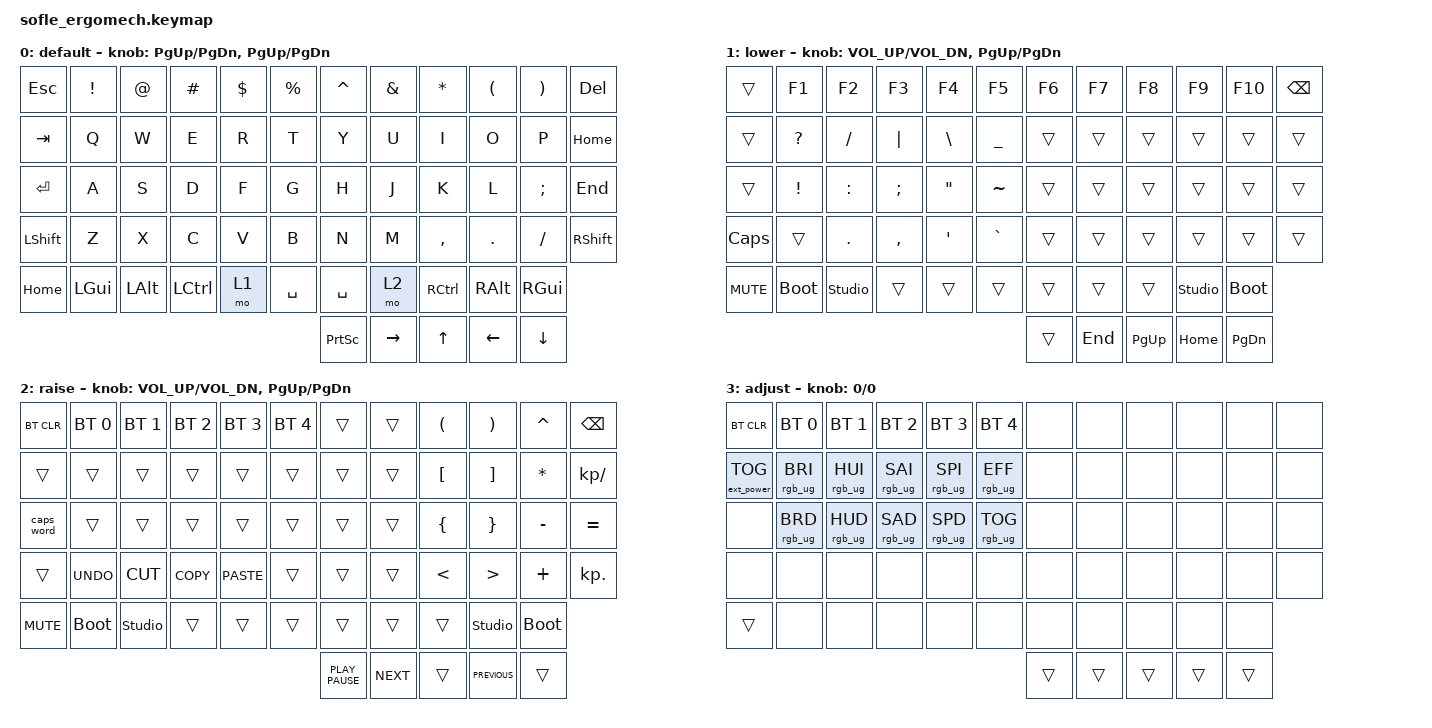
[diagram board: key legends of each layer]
/*
 * Copyright (c) 2020 The ZMK Contributors
 *
 * SPDX-License-Identifier: MIT
 */

#define ZMK_POINTING_DEFAULT_SCRL_VAL 300

#include <behaviors.dtsi>
#include <dt-bindings/zmk/bt.h>
#include <dt-bindings/zmk/ext_power.h>
#include <dt-bindings/zmk/keys.h>
#include <dt-bindings/zmk/pointing.h>
#include <dt-bindings/zmk/rgb.h>

#define BASE 0
#define LOWER 1
#define RAISE 2
#define ADJUST 3

/ {
    // Activate ADJUST layer by pressing raise and lower

    conditional_layers {
        compatible = "zmk,conditional-layers";

        adjust_layer {
            if-layers = <1 2>;
            then-layer = <3>;
        };
    };

    behaviors {
        mousescroll: mousescroll {
            compatible = "zmk,behavior-sensor-rotate";
            #sensor-binding-cells = <0>;
            bindings = <&msc SCRL_UP>, <&msc SCRL_DOWN>;

            tap-ms = <20>;
        };
    };

    keymap {
        compatible = "zmk,keymap";

        base {
            label = "default";

            // ------------------------------------------------------------------------------------------------------------
            // |   `   |  1  |  2  |  3   |  4   |  5   |                   |  6   |  7    |  8    |  9   |   0   |       |
            // |  ESC  |  Q  |  W  |  E   |  R   |  T   |                   |  Y   |  U    |  I    |  O   |   P   | BKSPC |
            // |  TAB  |  A  |  S  |  D   |  F   |  G   |                   |  H   |  J    |  K    |  L   |   ;   |   '   |
            // | SHIFT |  Z  |  X  |  C   |  V   |  B   |  MUTE  |  |       |  N   |  M    |  ,    |  .   |   /   | SHIFT |
            //               | GUI | ALT  | CTRL | LOWER|  ENTER |  | SPACE | RAISE| CTRL  | ALT   | GUI  |

            bindings = <
&kp ESC         &kp EXCL  &kp AT_SIGN  &kp HASH   &kp DOLLAR  &kp PERCENT  &kp CARET        &kp AMPERSAND  &kp ASTERISK  &kp LEFT_PARENTHESIS  &kp RIGHT_PARENTHESIS  &kp DEL
&kp TAB         &kp Q     &kp W        &kp E      &kp R       &kp T        &kp Y            &kp U          &kp I         &kp O                 &kp P                  &kp HOME
&kp ENTER       &kp A     &kp S        &kp D      &kp F       &kp G        &kp H            &kp J          &kp K         &kp L                 &kp SEMI               &kp END
&kp LEFT_SHIFT  &kp Z     &kp X        &kp C      &kp V       &kp B        &kp N            &kp M          &kp COMMA     &kp PERIOD            &kp SLASH              &kp RIGHT_SHIFT
&kp HOME        &kp LGUI  &kp LALT     &kp LCTRL  &mo 1       &kp SPACE    &kp SPACE        &mo 2          &kp RCTRL     &kp RALT              &kp RGUI
                                                                           &kp PRINTSCREEN  &kp RIGHT      &kp UP_ARROW  &kp LEFT_ARROW        &kp DOWN_ARROW
            >;

            sensor-bindings =
                <&inc_dec_kp PAGE_UP PAGE_DOWN>,
                <&inc_dec_kp PG_UP PG_DN>;
        };

        left {
            label = "lower";

            // TODO: Some binds are waiting for shifted keycode support.
            // ------------------------------------------------------------------------------------------------------------
            // |       |  F1 |  F2 |  F3  |  F4  |  F5  |                   |  F6  |  F7   |  F8   |  F9  |  F10  |  F11  |
            // |   `   |  1  |  2  |  3   |  4   |  5   |                   |  6   |  7    |  8    |  9   |   0   |  F12  |
            // |       |  !  |  @  |  #   |  $   |  %   |                   |  ^   |  &    |  *    |  (   |   )   |   |   |
            // |       |  =  |  -  |  +   |  {   |  }   |        |  |       |  [   |  ]    |  ;    |  :   |   \   |       |
            //               |     |      |      |      |        |  |       |      |       |       |      |

            bindings = <
&trans      &kp F1        &kp F2          &kp F3     &kp F4             &kp F5     &kp F6  &kp F7   &kp F8       &kp F9          &kp F10        &kp BACKSPACE
&trans      &kp QUESTION  &kp SLASH       &kp PIPE   &kp BACKSLASH      &kp UNDER  &trans  &trans   &trans       &trans          &trans         &trans
&trans      &kp EXCL      &kp COLON       &kp SEMI   &kp DOUBLE_QUOTES  &kp TILDE  &trans  &trans   &trans       &trans          &trans         &trans
&kp CAPS    &trans        &kp PERIOD      &kp COMMA  &kp APOS           &kp GRAVE  &trans  &trans   &trans       &trans          &trans         &trans
&kp K_MUTE  &bootloader   &studio_unlock  &trans     &trans             &trans     &trans  &trans   &trans       &studio_unlock  &bootloader
                                                                                   &trans  &kp END  &kp PAGE_UP  &kp HOME        &kp PAGE_DOWN
            >;

            sensor-bindings = <&inc_dec_kp C_VOL_UP C_VOL_DN &inc_dec_kp PG_UP PG_DN>;
        };

        right {
            label = "raise";

            // ------------------------------------------------------------------------------------------------------------
            // | BTCLR | BT1  | BT2  |  BT3  |  BT4  |  BT5 |                |      |      |       |      |       |       |
            // |       | INS  | PSCR | GUI   |       |      |                | PGUP |      |   ^   |      |       |       |
            // |       | ALT  | CTRL | SHIFT |       | CAPS |                | PGDN |   <- |   v   |  ->  |  DEL  | BKSPC |
            // |       | UNDO | CUT  | COPY  | PASTE |      |      |  |      |      |      |       |      |       |       |
            //                |      |       |       |      |      |  |      |      |      |       |      |

            bindings = <
&bt BT_CLR  &bt BT_SEL 0  &bt BT_SEL 1    &bt BT_SEL 2  &bt BT_SEL 3  &bt BT_SEL 4  &trans            &trans      &kp LEFT_PARENTHESIS  &kp RIGHT_PARENTHESIS  &kp CARET     &kp BACKSPACE
&trans      &trans        &trans          &trans        &trans        &trans        &trans            &trans      &kp LEFT_BRACKET      &kp RIGHT_BRACKET      &kp ASTERISK  &kp KP_DIVIDE
&caps_word  &trans        &trans          &trans        &trans        &trans        &trans            &trans      &kp LEFT_BRACE        &kp RIGHT_BRACE        &kp MINUS     &kp EQUAL
&trans      &kp K_UNDO    &kp K_CUT       &kp K_COPY    &kp K_PASTE   &trans        &trans            &trans      &kp LESS_THAN         &kp GREATER_THAN       &kp PLUS      &kp KP_DOT
&kp K_MUTE  &bootloader   &studio_unlock  &trans        &trans        &trans        &trans            &trans      &trans                &studio_unlock         &bootloader
                                                                                    &kp K_PLAY_PAUSE  &kp C_NEXT  &trans                &kp C_PREVIOUS         &trans
            >;

            sensor-bindings = <&inc_dec_kp C_VOL_UP C_VOL_DN &inc_dec_kp PG_UP PG_DN>;
        };

        adjust_layer {
            // ----------------------------------------------------------------------------------------------------------------------------
            // | BTCLR  |  BT1    |  BT2    |   BT3   |   BT4   |   BT5   |                  |      |      |       |      |       |       |
            // | EXTPWR | RGB_HUD | RGB_HUI | RGB_SAD | RGB_SAI | RGB_EFF |                  |      |      |       |      |       |       |
            // |        | RGB_BRD | RGB_BRI |         |         |         |                  |      |      |       |      |       |       |
            // |        |         |         |         |         |         | RGB_TOG | |      |      |      |       |      |       |       |
            //                    |         |         |         |         |         | |      |      |      |       |      |

            label = "adjust";
            bindings = <
&bt BT_CLR         &bt BT_SEL 0     &bt BT_SEL 1     &bt BT_SEL 2     &bt BT_SEL 3     &bt BT_SEL 4     &none   &none   &none   &none   &none   &none
&ext_power EP_TOG  &rgb_ug RGB_BRI  &rgb_ug RGB_HUI  &rgb_ug RGB_SAI  &rgb_ug RGB_SPI  &rgb_ug RGB_EFF  &none   &none   &none   &none   &none   &none
&none              &rgb_ug RGB_BRD  &rgb_ug RGB_HUD  &rgb_ug RGB_SAD  &rgb_ug RGB_SPD  &rgb_ug RGB_TOG  &none   &none   &none   &none   &none   &none
&none              &none            &none            &none            &none            &none            &none   &none   &none   &none   &none   &none
&trans             &none            &none            &none            &none            &none            &none   &none   &none   &none   &none
                                                                                                        &trans  &trans  &trans  &trans  &trans
            >;

            sensor-bindings = <&inc_dec_kp 0 0>;
        };
    };
};
